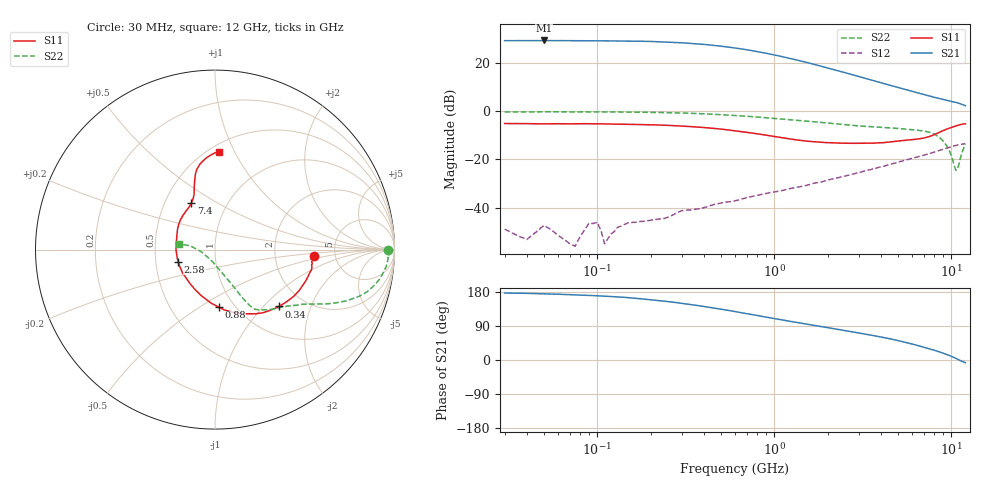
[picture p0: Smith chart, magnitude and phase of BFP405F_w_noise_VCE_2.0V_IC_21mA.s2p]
! Infineon Technologies  Discrete & RF Semiconductors
! BFP405F
! VCE =  2.0 V,  IC =  21 mA
! Common Emitter S-Parameters:  Nov 2015
# GHz  S  MA  R  50
!  f  S11  S21  S12  S22
! GHz  MAG  ANG  MAG  ANG  MAG  ANG  MAG  ANG
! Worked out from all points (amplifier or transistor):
!   239 points, 30 MHz to 12 GHz, reference 50 ohm
!   highest |S21| = 29.2 dB at 50 MHz (marker M1)
!   |S21| within 3 dB of that: start of sweep to 584.2 MHz
!   unconditionally stable (mu >= 1): 1.464 GHz to end of sweep
!   at 300 MHz: K = 0.37, MSG = 34.7 dB, |S12| = -41.2 dB
!   at 1.88 GHz: K = 1.13, MAG = 21.6 dB, |S12| = -29.1 dB
!   at 12 GHz: K = 1.41, MAG = 4.0 dB, |S12| = -13.4 dB
!   lowest NFmin = 2.30 dB at 450 MHz
!   S11 on the Smith chart (normalised r, x): 30 MHz: 3.43, -0.37; 340 MHz: 1.50, -1.23; 880 MHz: 0.84, -0.60; 2.58 GHz: 0.65, -0.09; 7.4 GHz: 0.68, +0.39; 12 GHz: 0.56, +0.87
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0.03  0.553 -3.9  28.71 176.7  0.0036 36.2  0.9617 -0.1
0.04  0.5504 -5.1  28.79 175.9  0.0022 80.6  0.9593 -0.7
0.05  0.5429 -7.2  28.99 174.4  0.0043 40.8  0.9674 -1.8
0.075  0.5468 -9.7  28.66 171.7  0.0016 121.3  0.963 -2.5
0.085  0.5488 -11.1  28.63 170.8  0.0035 133.1  0.9652 -3.1
0.1  0.5442 -13.4  28.48 169.5  0.005 86.3  0.9619 -4.3
0.11  0.5427 -14.5  28.44 168.4  0.0018 93.7  0.9623 -4.4
0.15  0.5327 -19.9  28.2 164.5  0.0049 95.9  0.9543 -6.3
0.2  0.5215 -26.0  27.67 158.9  0.0055 82.2  0.9426 -8.5
0.24  0.5101 -30.5  26.91 155.2  0.006 73.6  0.9314 -10.1
0.34  0.4767 -41.6  25.14 146.2  0.009 76.9  0.8997 -13.6
0.45  0.4419 -52.8  23.06 137.5  0.0115 72.0  0.8615 -16.7
0.6  0.3911 -66.2  20.25 127.6  0.0139 73.3  0.8101 -19.9
0.7  0.3641 -73.8  18.62 122.2  0.0162 68.1  0.782 -21.5
0.88  0.3211 -86.4  15.99 114.0  0.0194 69.3  0.734 -23.9
1.2  0.2694 -106.1  12.55 102.9  0.0245 69.5  0.6688 -26.9
1.64  0.2331 -128.1  9.501 92.2  0.0313 69.9  0.6048 -30.1
2.58  0.2159 -162.1  6.072 76.7  0.0463 68.6  0.5174 -37.5
4.5  0.2296 157.5  3.425 56.0  0.0785 62.8  0.4503 -47.9
7.4  0.2926 116.6  2.08 30.4  0.1293 50.6  0.3699 -58.0
10.6  0.4926 98.7  1.513 4.4  0.1948 32.4  0.0595 -120.6
12  0.5451 87.8  1.294 -7.1  0.2133 24.1  0.2054 171.1
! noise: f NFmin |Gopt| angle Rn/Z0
0.45  2.3  0.01  -63  0.46
0.9  2.31  0.02  -121  0.35
1.5  2.37  0.04  -124  0.41
1.9  2.45  0.05  -124  0.51
2.4  2.59  0.07  -124  0.18
3  2.69  0.08  -122  0.18
3.5  2.77  0.1  -119  0.26
4.5  3.02  0.15  -105  0.51
5.5  3.36  0.26  -88  0.5
